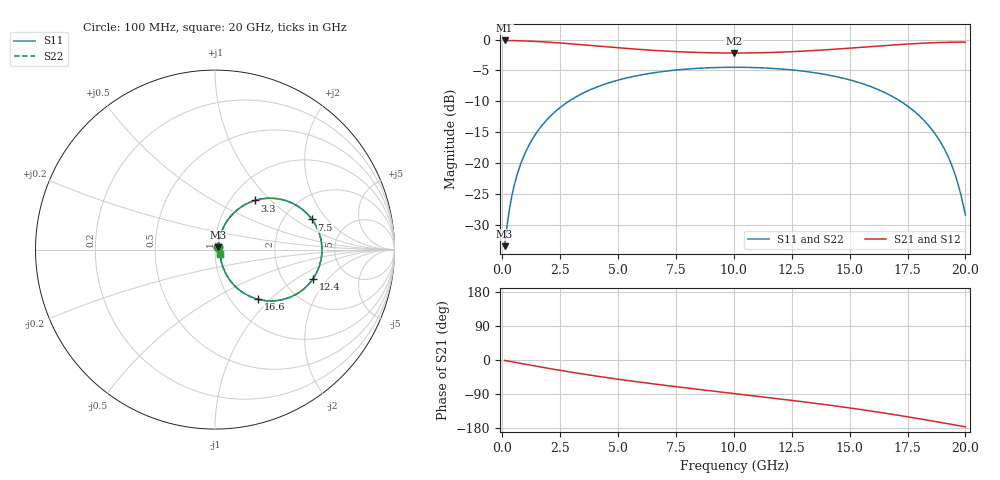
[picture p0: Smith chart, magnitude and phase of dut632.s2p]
! Touchstone file exported from HFSS 2026.1.0
!  File:  C:/ffzhzh/LocalFiles/Ansys_Project_Files/temp_train_TSV_RDL_632_1783126349_46604.aedt
!  Generated:  09:02:47 AM Jul  4, 2026
!  Design:  TSV_RDL
!  Project:  temp_train_TSV_RDL_632_1783126349_46604
! Variables:
!  h_bsmrdl = 5.28um
!  h_ox = 20um
!  h_rdl = 5um
!  h_sub = 89.84um
!  h_tmrdl = 3.65um
!  h_tsv = 89.84um
!  h_via = 3um
!  l_bsmrdl = 651.55um
!  l_sub = 2852.09um
!  l_tmrdl = 104.5um
!  m_sub = 200um
!  pitch = 42.15um
!  r_tsv = 4.53um
!  s_tmrdl = 10um
!  w_bsmrdl = 12.87um
!  w_sub = 500um
!  w_tmrdl = 13.61um
!  x_tsv_center1 = 111.305um
!  x_tsv_center2 = 775.725um
!  x_tsv_center3 = 893.835um
!  x_tsv_center4 = 1558.255um
!  x_tsv_center5 = 1676.365um
!  x_tsv_center6 = 2340.785um
# GHz S MA R 50.000000
! Terminal data exported
! Port[1] = TM_RDL1_1_T1
! Port[2] = TM_RDL5_1_T1
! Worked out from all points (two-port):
!   200 points, 100 MHz to 20 GHz, reference 50 ohm
!   highest |S21| = -0.15 dB at 100 MHz (marker M1); lowest = -2.2 dB at 10 GHz (marker M2)
!   |S21| within 3 dB of the highest: start of sweep to end of sweep
!   lowest |S11| = -33.5 dB at 100 MHz (marker M3), VSWR 1.04, Z = 51.7 + j1.27 ohm
!   |S11| at or under -10 dB: start of sweep to 2.877 GHz; 17.2 GHz to end of sweep
!   |S22| runs from -33.5 to -4.5 dB; largest |S21 - S12| = 9.4e-14
!   S11 on the Smith chart (normalised r, x): 100 MHz: 1.03, +0.03; 3.3 GHz: 1.29, +0.81; 7.5 GHz: 2.84, +1.40; 12.4 GHz: 2.91, -1.40; 16.6 GHz: 1.32, -0.84; 20 GHz: 1.06, -0.05
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0.1  0.02116 35.4  0.9829 -1.2  0.9829 -1.2  0.02116 35.4
! Gamma 0 0 0 0
! Port Impedance 50 0 50 0
0.3  0.04124 61.2  0.9817 -3.4  0.9817 -3.4  0.04124 61.2
0.5  0.06401 67.8  0.9799 -5.7  0.9799 -5.7  0.06401 67.8
0.8  0.09871 69.9  0.9764 -9.1  0.9764 -9.1  0.09871 69.9
1.1  0.1332 69.3  0.9718 -12.4  0.9718 -12.4  0.1332 69.3
2  0.2315 62.7  0.9519 -22.1  0.9519 -22.1  0.2315 62.7
3.3  0.3526 50.9  0.9122 -35.3  0.9122 -35.3  0.3526 50.9
3.5  0.3688 49.1  0.9056 -37.2  0.9056 -37.2  0.3688 49.1
5  0.469 36.3  0.8575 -50.7  0.8575 -50.7  0.469 36.3
6.8  0.5465 22.3  0.8112 -65.2  0.8112 -65.2  0.5465 22.3
7.5  0.5661 17.3  0.7982 -70.4  0.7982 -70.4  0.5661 17.3
10  0.5959 -0.0  0.7774 -88.4  0.7774 -88.4  0.5959 -0.0
10.1  0.5959 -0.7  0.7774 -89.1  0.7774 -89.1  0.5959 -0.7
12.4  0.5697 -16.6  0.7953 -105.7  0.7953 -105.7  0.5697 -16.6
13.4  0.5415 -23.8  0.813 -113.4  0.813 -113.4  0.5415 -23.8
15.1  0.4658 -36.8  0.854 -127.3  0.854 -127.3  0.4658 -36.9
16.6  0.3654 -49.2  0.8958 -141.0  0.8958 -141.0  0.3654 -49.2
16.7  0.3575 -50.0  0.8986 -142.0  0.8986 -142.0  0.3575 -50.0
18  0.242 -60.5  0.9307 -155.0  0.9307 -155.0  0.242 -60.6
18.9  0.1502 -65.7  0.9462 -164.5  0.9462 -164.5  0.1502 -65.7
19.5  0.08641 -63.9  0.9519 -170.9  0.9519 -170.9  0.08637 -64.0
20  0.03784 -40.6  0.9536 -176.4  0.9536 -176.4  0.03772 -40.8
